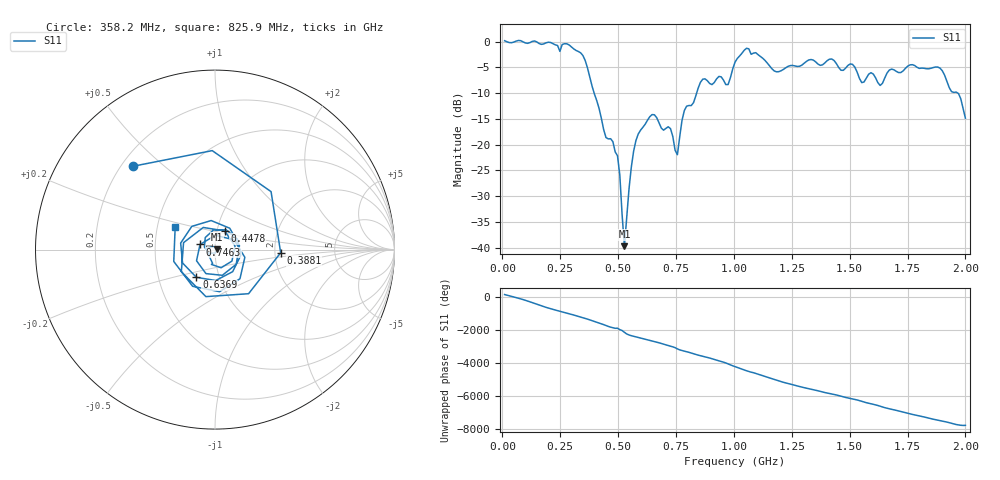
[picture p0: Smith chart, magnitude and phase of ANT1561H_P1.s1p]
!Created with skrf (http://scikit-rf.org).
# Hz S RI R 50.0
!freq ReS11 ImS11
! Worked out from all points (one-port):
!   201 points, 10 MHz to 2 GHz, reference 50 ohm
!   lowest |S11| = -39.7 dB at 527.4 MHz (marker M1), VSWR 1.02, Z = 51 + j0.23 ohm
!   |S11| at or under -10 dB: 396.7 MHz to 839.4 MHz (442.7 MHz wide, 71.6 % of centre); 1.967 GHz to end of sweep
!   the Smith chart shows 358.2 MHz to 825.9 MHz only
!   S11 on the Smith chart (normalised r, x): 358.2 MHz: 0.25, +0.40; 388.1 MHz: 2.15, -0.09; 447.8 MHz: 1.09, +0.23; 636.9 MHz: 0.78, -0.25; 746.3 MHz: 0.84, +0.05; 825.9 MHz: 0.62, +0.17
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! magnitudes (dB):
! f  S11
! 10 MHz  0.2
! 258.8 MHz  -0.6
! 358.2 MHz  -3.7
! 388.1 MHz  -8.7
! 447.8 MHz  -18.6
! 477.6 MHz  -19.4
! 507.5 MHz  -25.9
! 527.4 MHz  -39.7
! 567.2 MHz  -21.3
! 636.9 MHz  -14.6
! 726.4 MHz  -16.9
! 746.3 MHz  -21.1
! 756.2 MHz  -22.0
! 786.1 MHz  -13.4
! 825.9 MHz  -11.9
! 865.7 MHz  -7.3
! 975.1 MHz  -8.4
! 1.005 GHz  -4.0
! 1.055 GHz  -1.3
! 1.184 GHz  -5.9
! 1.254 GHz  -4.6
! 1.502 GHz  -4.4
! 1.552 GHz  -8.0
! 1.632 GHz  -8.5
! 1.751 GHz  -4.8
! 1.891 GHz  -5.2
! 1.97 GHz  -10.1
! 2 GHz  -14.9
